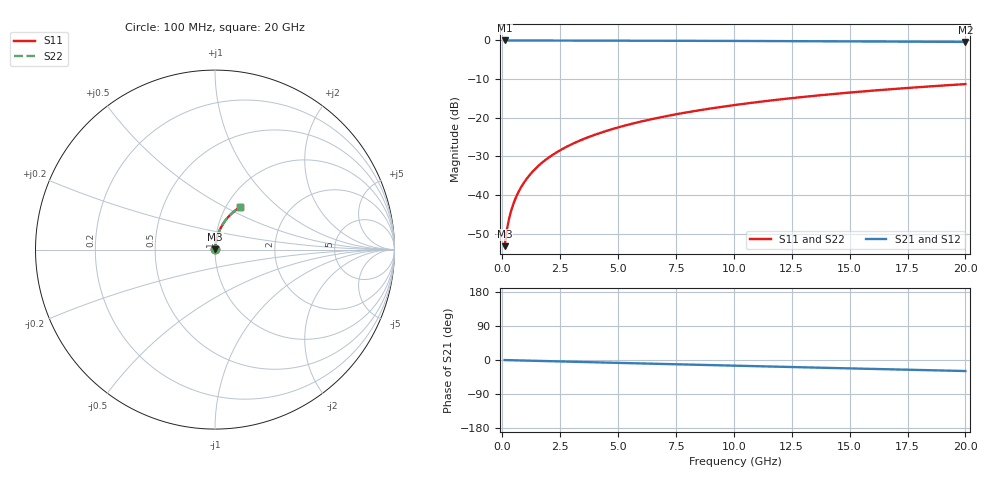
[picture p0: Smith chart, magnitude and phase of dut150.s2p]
! Touchstone file exported from HFSS 2026.1.0
!  File:  C:/ffzhzh/LocalFiles/Ansys_Project_Files/temp_train_BSMRDL_150_1782986565_41620.aedt
!  Generated:  06:04:15 PM Jul  2, 2026
!  Design:  BSMRDL
!  Project:  temp_train_BSMRDL_150_1782986565_41620
! Variables:
!  h_bsmrdl = 4.05um
!  h_ox = 20um
!  h_rdl = 5um
!  h_sub = 80um
!  h_tmrdl = 5um
!  h_tsv = 80um
!  h_via = 3um
!  l_bsmrdl = 394.8um
!  l_sub = 794.8um
!  l_tmrdl = 200um
!  m_sub = 200um
!  pitch = 59.11um
!  r_tsv = 6um
!  s_tmrdl = 10um
!  w_bsmrdl = 29.06um
!  w_sub = 500um
!  w_tmrdl = 12um
!  x_tsv_center1 = 206um
!  x_tsv_center2 = 629.86um
!  x_tsv_center3 = 841.86um
!  x_tsv_center4 = 1265.72um
!  x_tsv_center5 = 1477.72um
!  x_tsv_center6 = 1901.58um
# GHz S MA R 50.000000
! Terminal data exported
! Port[1] = BSM_RDL1_1_T1
! Port[2] = BSM_RDL1_1_T2
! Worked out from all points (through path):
!   200 points, 100 MHz to 20 GHz, reference 50 ohm
!   highest |S21| = -0.01 dB at 100 MHz (marker M1); lowest = -0.4 dB at 20 GHz (marker M2)
!   group delay of S21, straight-line fit = 4.04 ps
!   lowest |S11| = -53.2 dB at 100 MHz (marker M3), VSWR 1.00, Z = 50.1 + j0.167 ohm
!   |S11| at or under -10 dB: start of sweep to end of sweep
!   |S22| runs from -53.2 to -11.3 dB; largest |S21 - S12| = 3.1e-15
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0.1  0.002192 49.5  0.9986 -0.2  0.9986 -0.2  0.002192 49.5
! Gamma 0 0 0 0
! Port Impedance 50 0 50 0
0.2  0.003609 64.8  0.9985 -0.3  0.9985 -0.3  0.00361 64.8
0.3  0.005079 71.0  0.9984 -0.5  0.9984 -0.5  0.005079 71.0
0.4  0.006549 74.4  0.9983 -0.6  0.9983 -0.6  0.00655 74.4
0.5  0.008024 76.7  0.9982 -0.8  0.9982 -0.8  0.008025 76.7
0.7  0.01099 79.5  0.9982 -1.1  0.9982 -1.1  0.01099 79.5
0.8  0.01249 80.3  0.9981 -1.2  0.9981 -1.2  0.01249 80.3
1  0.01549 81.5  0.998 -1.5  0.998 -1.5  0.01549 81.5
1.2  0.0185 82.2  0.9979 -1.8  0.9979 -1.8  0.0185 82.2
1.4  0.02151 82.6  0.9978 -2.1  0.9978 -2.1  0.02151 82.6
1.7  0.02603 82.9  0.9976 -2.6  0.9976 -2.6  0.02603 82.9
2  0.03055 83.0  0.9974 -3.1  0.9974 -3.1  0.03055 83.0
2.7  0.04107 82.6  0.9968 -4.1  0.9968 -4.1  0.04107 82.6
3.5  0.05299 81.8  0.996 -5.3  0.996 -5.3  0.05299 81.8
4.2  0.06334 81.0  0.9951 -6.4  0.9951 -6.4  0.06334 81.0
5  0.07505 80.0  0.994 -7.6  0.994 -7.6  0.07505 80.0
6.8  0.101 77.5  0.991 -10.3  0.991 -10.3  0.101 77.5
8.3  0.1222 75.5  0.9881 -12.5  0.9881 -12.5  0.1222 75.5
10.1  0.1471 73.0  0.9842 -15.1  0.9842 -15.1  0.1471 73.0
13.4  0.1912 68.5  0.9759 -19.9  0.9759 -19.9  0.1912 68.4
16.7  0.2331 64.0  0.9663 -24.5  0.9663 -24.5  0.2331 63.9
20  0.2725 59.5  0.9555 -29.1  0.9555 -29.1  0.2725 59.5
